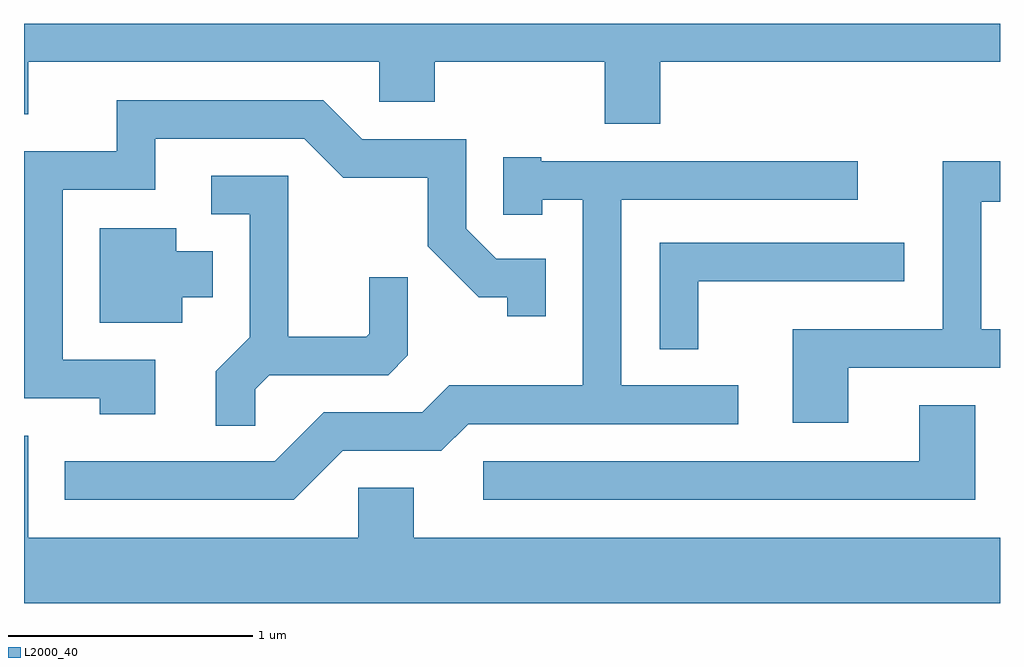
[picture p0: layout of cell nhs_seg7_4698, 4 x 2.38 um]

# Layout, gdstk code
import gdstk
lib = gdstk.Library(unit=1e-6, precision=1e-09)
def P(c, l, *ps):  # polygons
    for p in ps: c.add(gdstk.Polygon(p, *l))
L2000_40 = (2000, 40)

nhs_seg7_4698 = lib.new_cell('nhs_seg7_4698')
P(nhs_seg7_4698, L2000_40, [(332.219,1712.096),(333.611,1712.096),(333.611,1712.252),(329.611,1712.252),(329.611,1711.881),(329.629,1711.881),(329.629,1712.096),(331.066,1712.096),(331.066,1711.931),(331.294,1711.931),(331.294,1712.096),(331.991,1712.096),(331.991,1711.841),(332.219,1711.841)],
  [(330.149,1710.874),(329.769,1710.874),(329.769,1711.571),(330.149,1711.571),(330.149,1711.781),(330.759,1711.781),(330.919,1711.621),(331.266,1711.621),(331.266,1711.339),(331.474,1711.131),(331.591,1711.131),(331.591,1711.053),(331.749,1711.053),(331.749,1711.289),(331.547,1711.289),(331.424,1711.412),(331.424,1711.779),(330.997,1711.779),(330.837,1711.939),(329.991,1711.939),(329.991,1711.729),(329.611,1711.729),(329.611,1710.716),(329.921,1710.716),(329.921,1710.651),(330.149,1710.651)],
  [(330.917,1710.501),(331.322,1710.501),(331.432,1710.611),(332.538,1710.611),(332.538,1710.769),(332.059,1710.769),(332.059,1711.531),(333.028,1711.531),(333.028,1711.689),(331.73,1711.689),(331.73,1711.704),(331.576,1711.704),(331.576,1711.468),(331.734,1711.468),(331.734,1711.531),(331.901,1711.531),(331.901,1710.769),(331.354,1710.769),(331.244,1710.659),(330.839,1710.659),(330.639,1710.459),(329.778,1710.459),(329.778,1710.301),(330.717,1710.301)],
  [(332.989,1710.841),(333.611,1710.841),(333.611,1710.999),(333.534,1710.999),(333.534,1711.521),(333.611,1711.521),(333.611,1711.689),(333.376,1711.689),(333.376,1710.999),(332.761,1710.999),(332.761,1710.616),(332.989,1710.616)],
  [(330.559,1710.754),(330.617,1710.811),(331.104,1710.811),(331.184,1710.892),(331.184,1711.213),(331.026,1711.213),(331.026,1710.982),(331.014,1710.969),(330.694,1710.969),(330.694,1711.629),(330.378,1711.629),(330.378,1711.471),(330.536,1711.471),(330.536,1710.967),(330.396,1710.827),(330.396,1710.603),(330.559,1710.603)],
  [(330.259,1711.131),(330.384,1711.131),(330.384,1711.319),(330.234,1711.319),(330.234,1711.414),(329.921,1711.414),(329.921,1711.026),(330.259,1711.026)],
  [(332.374,1711.196),(333.218,1711.196),(333.218,1711.354),(332.216,1711.354),(332.216,1710.918),(332.374,1710.918)],
  [(333.509,1710.689),(333.281,1710.689),(333.281,1710.459),(331.493,1710.459),(331.493,1710.301),(333.509,1710.301)],
  [(333.611,1710.144),(331.209,1710.144),(331.209,1710.349),(330.981,1710.349),(330.981,1710.144),(329.629,1710.144),(329.629,1710.564),(329.611,1710.564),(329.611,1709.876),(333.611,1709.876)])

lib.write_gds('nhs_seg7_4698.gds')
